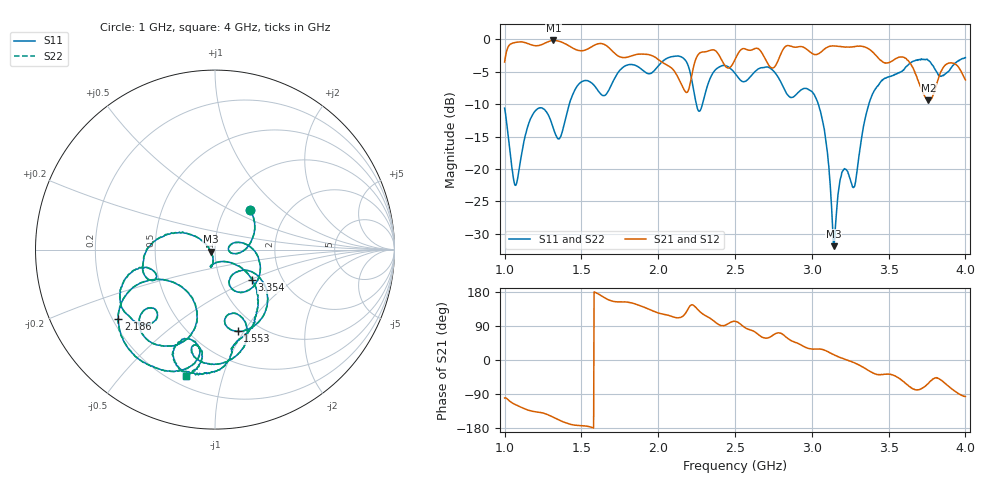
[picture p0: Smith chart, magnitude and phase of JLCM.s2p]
# MHz S MA R 50
!  freq  S11  S21  S12  S22
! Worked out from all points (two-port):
!   1000 points, 1 GHz to 4 GHz, reference 50 ohm
!   highest |S21| = -0.18 dB at 1.318 GHz (marker M1); lowest = -9.4 dB at 3.76 GHz (marker M2)
!   |S21| within 3 dB of the highest: 1.002 GHz to 2.004 GHz (1.002 GHz wide, 66.7 % of centre); 2.782 GHz to 3.444 GHz (661.8 MHz wide, 21.3 % of centre)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
!   lowest |S11| = -31.9 dB at 3.144 GHz (marker M3), VSWR 1.05, Z = 47.8 - j1.17 ohm
!   |S11| at or under -10 dB: start of sweep to 1.421 GHz; 2.248 GHz to 2.288 GHz (39.73 MHz wide, 1.75 % of centre); 3.042 GHz to 3.372 GHz (329.7 MHz wide, 10.3 % of centre)
!   |S22| runs from -31.8 to -2.6 dB; largest |S21 - S12| = 0.011
!   S11 on the Smith chart (normalised r, x): 1 GHz: 1.32, +0.63; 1.553 GHz: 0.80, -0.94; 2.186 GHz: 0.22, -0.31; 3.354 GHz: 1.41, -0.51; 4 GHz: 0.26, -0.76
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1000  0.2944 48.2  0.6679 -100.3  0.6657 -100.3  0.296 48.5
1069.069  0.07487 0.7  0.9439 -117.4  0.9452 -117.4  0.07522 -0.1
1192.192  0.2738 -22.5  0.8939 -136.1  0.8954 -136.1  0.2738 -22.6
1318.318  0.2042 -67.1  0.9792 -151.3  0.9806 -151.3  0.2044 -67.4
1501.502  0.471 -58.7  0.8162 -173.4  0.8169 -173.4  0.4697 -58.7
1552.553  0.4728 -74.4  0.8548 -176.0  0.8576 -176.0  0.4734 -74.6
2000  0.6201 -99.3  0.6985 124.2  0.7002 124.2  0.6201 -99.1
2186.186  0.6624 -144.4  0.3893 128.8  0.3893 128.6  0.664 -144.3
2303.303  0.3715 -105.6  0.7998 118.2  0.8011 118.1  0.37 -105.7
2411.411  0.6229 -121.8  0.6969 90.7  0.697 90.8  0.6209 -121.4
2501.502  0.5444 -139.0  0.7031 102.0  0.7036 102.1  0.5443 -138.9
2669.67  0.6032 -139.1  0.8034 62.2  0.8041 62.1  0.604 -139.1
2828.829  0.3945 -165.5  0.8809 62.0  0.8821 62.0  0.3962 -165.3
3000  0.3959 -174.8  0.7802 29.0  0.7811 29.1  0.3968 -175.2
3084.084  0.1919 151.4  0.8413 25.6  0.8441 25.8  0.1943 151.5
3144.144  0.02539 -151.3  0.888 13.7  0.8889 13.7  0.02575 -155.6
3354.354  0.266 -39.2  0.8617 -24.1  0.8639 -24.0  0.2657 -39.0
3501.502  0.5133 -73.6  0.661 -37.4  0.6625 -37.3  0.5131 -73.2
3627.628  0.6354 -84.1  0.6851 -67.2  0.689 -66.9  0.6374 -84.0
3759.76  0.6856 -107.3  0.3378 -61.3  0.3363 -61.5  0.6859 -107.2
3849.85  0.5232 -103.5  0.5907 -55.3  0.5891 -55.2  0.5209 -103.7
4000  0.7224 -103.0  0.4871 -96.5  0.488 -96.7  0.7233 -102.8
